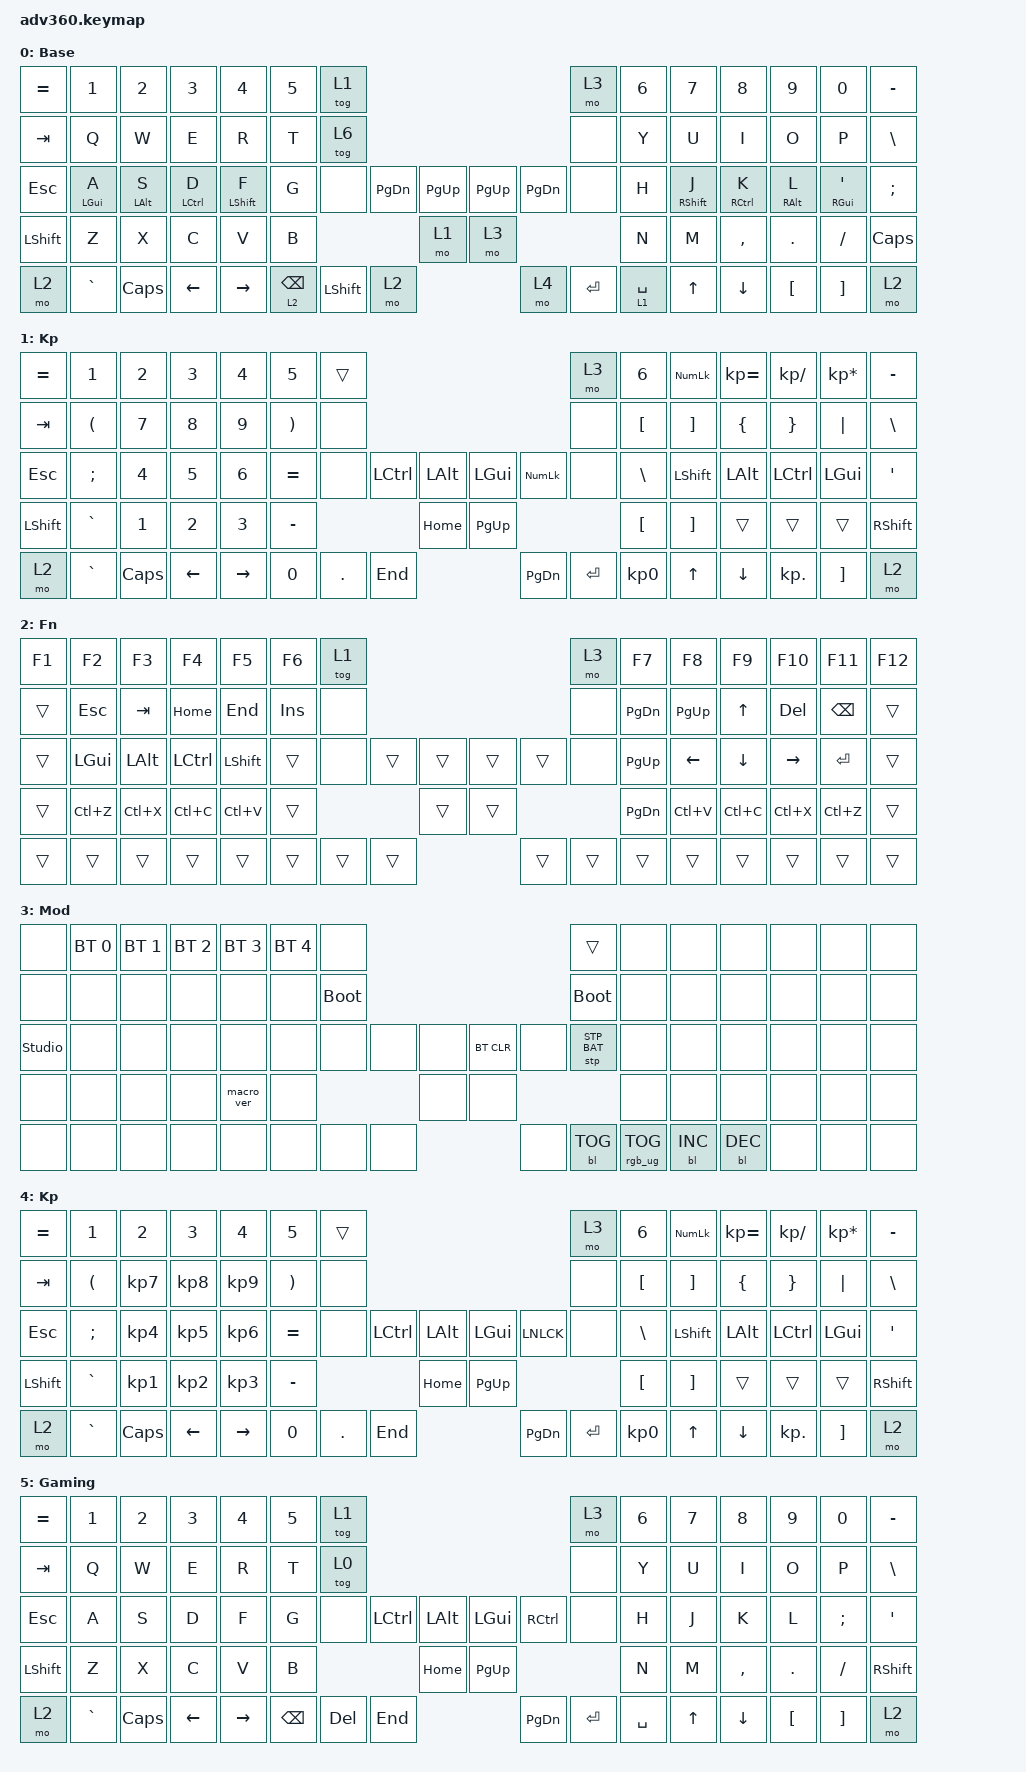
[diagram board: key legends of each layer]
#include <behaviors.dtsi>
#include <dt-bindings/zmk/keys.h>
#include <dt-bindings/zmk/bt.h>
#include <dt-bindings/zmk/rgb.h>
#include <dt-bindings/zmk/stp.h>
#include <dt-bindings/zmk/backlight.h>
#include <dt-bindings/zmk/pointing.h>

/ {
    behaviors {
      #include "macros.dtsi"
      #include "version.dtsi"

      hm: homerow_mods {
          compatible = "zmk,behavior-hold-tap";
          label = "HOMEROW_MODS";
          #binding-cells = <2>;
          flavor = "tap-preferred";
          tapping-term-ms = <200>;
          quick_tap_ms = <175>;
          bindings = <&kp>, <&kp>;
      };
    };
 combos {
        compatible = "zmk,combos";
        combo_esc {
            timeout-ms = <60>;
            key-positions = <29 30>;
            bindings = <&kp ESC>;
            layers = <0 1 2 3 4>;
        };
        combo_tab {
            timeout-ms = <60>;
            key-positions = <30 31>;
            bindings = <&kp TAB>;
            layers = <0 1 2 3 4>;
        };
        combo_delete {
            timeout-ms = <60>;
            key-positions = <31 32>;
            bindings = <&kp DELETE>;
            layers = <0 1 2 3 4>; 
        };
        combo_backspace {
            timeout-ms = <60>;
            key-positions = <41 42>;
            bindings = <&kp BSPC>;
            layers = <0 1 2 3 4>; 
        };
        combo_enter {
            timeout-ms = <60>;
            key-positions = <43 44>;
            bindings = <&kp RET>;
            layers = <0 1 2 3 4>; 
        };
        combo_scln {
            timeout-ms = <60>;
            key-positions = <42 43>;
            bindings = <&kp SEMI>;
            layers = <0 1 2 3 4>; 
        };
        combo_lpar {
            timeout-ms = <60>;
            key-positions = <17 18>;
            bindings = <&kp LPAR>;
            layers = <0 1 2 3 4>; 
        };
        combo_rpar {
            timeout-ms = <60>;
            key-positions = <23 24>;
            bindings = <&kp RPAR>;
            layers = <0 1 2 3 4>; 
        };
        combo_lbkt {
            timeout-ms = <60>;
            key-positions = <18 19>;
            bindings = <&kp LBKT>;
            layers = <0 1 2 3 4>; 
        };
        combo_rbkt {
            timeout-ms = <60>;
            key-positions = <22 23>;
            bindings = <&kp RBKT>;
            layers = <0 1 2 3 4>; 
        };
        combo_minus {
            timeout-ms = <60>;
            key-positions = <16 17>;
            bindings = <&kp MINUS>;
            layers = <0 1 2 3 4>; 
        };
        combo_equal {
            timeout-ms = <60>;
            key-positions = <24 25>;
            bindings = <&kp EQUAL>;
            layers = <0 1 2 3 4>; 
        };
        combo_caps_word{
            timeout-ms = <60>;
            key-positions = <32 37>;
            bindings = <&kp CAPSLOCK>;
            layers = <0 1 2 3 4>; 
        };
    };
  keymap {
    compatible = "zmk,keymap";

    default_layer {
      display-name = "Base";
      bindings = <
        &kp EQUAL &kp N1    &kp N2   &kp N3   &kp N4     &kp N5 &tog 1                                                           &mo 3 &kp N6 &kp N7 &kp N8    &kp N9   &kp N0   &kp MINUS
        &kp TAB   &kp Q     &kp W    &kp E    &kp R      &kp T  &tog 6                                                             &none &kp Y  &kp U  &kp I     &kp O    &kp P    &kp BSLH
        &kp ESC   &hm LGUI A     &hm LALT S    &hm LCTRL D    &hm LSHFT F  &kp G  &none       &kp PG_DN  &kp PG_UP &kp PG_UP  &kp PG_DN          &none &kp H  &hm RSHFT J  &hm RCTRL K     &hm RALT L    &hm RGUI SQT &kp SEMI
        &kp LSHFT &kp Z     &kp X    &kp C    &kp V      &kp B                                &mo 1 &mo 3                           &kp N  &kp M  &kp COMMA &kp DOT  &kp FSLH &kp CAPS
        &mo 2     &kp GRAVE &kp CAPS &kp LEFT &kp RIGHT                      &lt 2 BSPC &kp LSHFT   &mo 2  &mo 4 &kp ENTER &lt 1 SPACE              &kp UP &kp DOWN  &kp LBKT &kp RBKT &mo 2
      >;
    };
    keypad {
      display-name = "Kp";
      bindings = <
       &kp EQUAL &kp N1    &kp N2   &kp N3   &kp N4     &kp N5 &trans                                                                           &mo 3  &kp N6        &kp KP_NUM    &kp KP_EQUAL  &kp KP_DIVIDE     &kp KP_MULTIPLY   &kp MINUS
        &kp TAB   &kp LPAR     &kp N7  &kp N8    &kp N9     &kp RPAR  &none                                                             &none  &kp LBKT      &kp RBKT      &kp LBRC      &kp RBRC           &kp PIPE          &kp BSLH
        &kp ESC   &kp SEMI     &kp N4  &kp N5    &kp N6     &kp EQUAL &none           &kp LCTRL &kp LALT &kp LGUI  &kp KP_NLCK              &none  &kp BSLH      &kp LSHFT     &kp LALT      &kp LCTRL         &kp LGUI          &kp SQT
        &kp LSHFT &kp GRAVE     &kp N1  &kp N2   &kp N3     &kp MINUS                         &kp HOME &kp PG_UP                                &kp LBKT     &kp RBKT     &trans         &trans            &trans             &kp RSHFT   
        &mo 2     &kp GRAVE &kp CAPS &kp LEFT &kp RIGHT              &kp N0 &kp DOT       &kp END  &kp PG_DN &kp ENTER &kp KP_N0              &kp UP     &kp DOWN     &kp KP_DOT    &kp RBKT        &mo 2
      >;
    };
    fn {
      display-name = "Fn";
      bindings = <
        &kp F1 &kp F2 &kp F3 &kp F4 &kp F5 &kp F6 &tog 1                                           &mo 3 &kp F7 &kp F8 &kp F9 &kp F10 &kp F11 &kp F12
        &trans &kp ESC            &kp TAB            &kp HOME           &kp END            &kp INS  &none                                           &none &kp PG_DN        &kp PG_UP          &kp UP             &kp DEL            &kp BSPC   &trans
        &trans &kp LGUI          &kp LALT          &kp LCTRL         &kp LSHIFT        &trans   &none        &trans &trans &trans &trans        &none &kp PG_UP          &kp LEFT           &kp DOWN           &kp RIGHT          &kp RETURN  &trans
        &trans &kp LC(Z)          &kp LC(X)          &kp LC(C)          &kp LC(V)          &trans                      &trans &trans                     &kp PG_DN        &kp LC(V)          &kp LC(C)          &kp LC(X)          &kp LC(Z)  &trans
        &trans &trans &trans &trans &trans               &trans &trans &trans &trans &trans &trans              &trans &trans &trans  &trans  &trans
      >;
    };
    mod {
      display-name = "Mod";
      bindings = <
        &none &bt BT_SEL 0 &bt BT_SEL 1 &bt BT_SEL 2 &bt BT_SEL 3 &bt BT_SEL 4 &none                                                                     &trans                 &none        &none        &none        &none &none &none
        &none &none        &none        &none        &none        &none        &bootloader                                                               &bootloader            &none        &none        &none        &none &none &none
        &studio_unlock &none        &none        &none        &none        &none        &none                   &none &none &bt BT_CLR &none                      &stp STP_BAT &none        &none        &none        &none &none &none
        &none &none        &none        &none        &macro_ver   &none                                      &none &none                                                        &none        &none        &none        &none &none &none
        &none &none        &none        &none        &none                                       &none &none &none &none      &bl BL_TOG &rgb_ug RGB_TOG                                     &bl BL_INC   &bl BL_DEC   &none &none &none
      >;
    };
    numpad {
      display-name = "Kp";
      bindings = <
       &kp EQUAL &kp N1    &kp N2   &kp N3   &kp N4     &kp N5 &trans                                                                           &mo 3  &kp N6        &kp KP_NUM    &kp KP_EQUAL  &kp KP_DIVIDE     &kp KP_MULTIPLY   &kp MINUS
        &kp TAB   &kp LPAR     &kp KP_N7  &kp KP_N8    &kp KP_N9     &kp RPAR  &none                                                             &none  &kp LBKT      &kp RBKT      &kp LBRC      &kp RBRC           &kp PIPE          &kp BSLH
        &kp ESC   &kp SEMI     &kp KP_N4  &kp KP_N5    &kp KP_N6     &kp EQUAL &none           &kp LCTRL &kp LALT &kp LGUI  &kp LNLCK              &none  &kp BSLH      &kp LSHFT     &kp LALT      &kp LCTRL         &kp LGUI          &kp SQT
        &kp LSHFT &kp GRAVE     &kp KP_N1  &kp KP_N2   &kp KP_N3     &kp MINUS                         &kp HOME &kp PG_UP                                &kp LBKT     &kp RBKT     &trans         &trans            &trans             &kp RSHFT   
        &mo 2     &kp GRAVE &kp CAPS &kp LEFT &kp RIGHT              &kp N0 &kp DOT       &kp END  &kp PG_DN &kp ENTER &kp KP_N0              &kp UP     &kp DOWN     &kp KP_DOT    &kp RBKT        &mo 2
      >;
    };
    gaming {
      display-name = "Gaming";
      bindings = <
        &kp EQUAL &kp N1    &kp N2   &kp N3   &kp N4     &kp N5 &tog 1                                                           &mo 3 &kp N6 &kp N7 &kp N8    &kp N9   &kp N0   &kp MINUS
        &kp TAB   &kp Q     &kp W    &kp E    &kp R      &kp T  &tog 0                                                            &none &kp Y  &kp U  &kp I     &kp O    &kp P    &kp BSLH
        &kp ESC   &kp A     &kp S    &kp D    &kp F      &kp G  &none           &kp LCTRL &kp LALT &kp LGUI  &kp RCTRL           &none &kp H  &kp J  &kp K     &kp L    &kp SEMI &kp SQT
        &kp LSHFT &kp Z     &kp X    &kp C    &kp V      &kp B                            &kp HOME &kp PG_UP                           &kp N  &kp M  &kp COMMA &kp DOT  &kp FSLH &kp RSHFT
        &mo 2     &kp GRAVE &kp CAPS &kp LEFT &kp RIGHT                &kp BSPC &kp DEL   &kp END  &kp PG_DN &kp ENTER &kp SPACE              &kp UP &kp DOWN  &kp LBKT &kp RBKT &mo 2
      >;
    };
    extra1 { 
      display-name = "Red";    
      status = "reserved";
    };

    extra2 { 
      display-name = "Purple";    
      status = "reserved";
    };

    extra3 { 
      display-name = "Cyan";    
      status = "reserved";
    };

    extra4 { 
      display-name = "Yellow";    
      status = "reserved";
    };
  };
};
